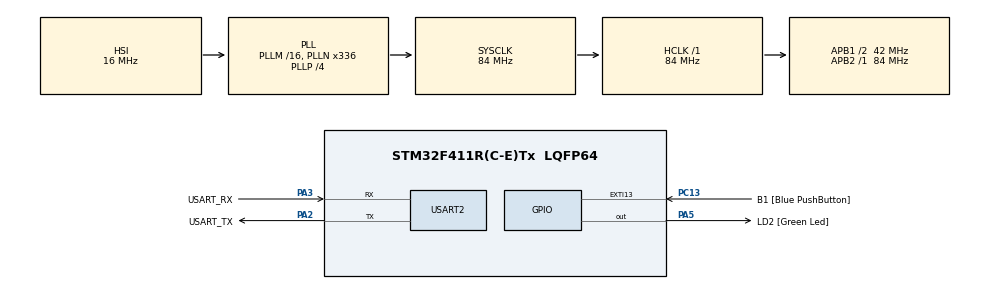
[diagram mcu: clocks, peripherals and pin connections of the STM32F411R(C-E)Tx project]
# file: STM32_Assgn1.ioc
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FREERTOS.Tasks01=defaultTask,24,128,StartDefaultTask,Default,NULL,Dynamic,NULL,NULL
Mcu.Family=STM32F4
Mcu.Name=STM32F411R(C-E)Tx
Mcu.Package=LQFP64
NVIC.PriorityGroup=NVIC_PRIORITYGROUP_4
NVIC.TIM1_BRK_TIM9_IRQn=true\:15\:0\:false\:false\:true\:false\:false\:true
NVIC.TimeBase=TIM1_BRK_TIM9_IRQn
NVIC.TimeBaseIP=TIM9
PA13.GPIO_Label=TMS
PA13.Mode=Serial_Wire
PA13.Signal=SYS_JTMS-SWDIO
PA14.GPIO_Label=TCK
PA14.Mode=Serial_Wire
PA14.Signal=SYS_JTCK-SWCLK
PA2.GPIO_Label=USART_TX
PA2.Mode=Asynchronous
PA2.Signal=USART2_TX
PA3.GPIO_Label=USART_RX
PA3.Mode=Asynchronous
PA3.Signal=USART2_RX
PA5.GPIO_Label=LD2 [Green Led]
PA5.Signal=GPIO_Output
PB3.GPIO_Label=SWO
PB3.Signal=SYS_JTDO-SWO
PC13-ANTI_TAMP.GPIO_Label=B1 [Blue PushButton]
PC13-ANTI_TAMP.GPIO_ModeDefaultEXTI=GPIO_MODE_IT_FALLING
PC13-ANTI_TAMP.Signal=GPXTI13
PC14-OSC32_IN.Mode=LSE-External-Oscillator
PC14-OSC32_IN.Signal=RCC_OSC32_IN
PC15-OSC32_OUT.Mode=LSE-External-Oscillator
PC15-OSC32_OUT.Signal=RCC_OSC32_OUT
PH0\ -\ OSC_IN.Mode=HSE-External-Clock-Source
PH0\ -\ OSC_IN.Signal=RCC_OSC_IN
PH1\ -\ OSC_OUT.Mode=HSE-External-Clock-Source
PH1\ -\ OSC_OUT.Signal=RCC_OSC_OUT
ProjectManager.HeapSize=0x200
ProjectManager.StackSize=0x400
ProjectManager.TargetToolchain=STM32CubeIDE
RCC.48MHZClocksFreq_Value=84000000
RCC.AHBFreq_Value=84000000
RCC.APB1CLKDivider=RCC_HCLK_DIV2
RCC.APB1Freq_Value=42000000
RCC.APB1TimFreq_Value=84000000
RCC.APB2Freq_Value=84000000
RCC.APB2TimFreq_Value=84000000
RCC.CortexFreq_Value=84000000
RCC.FLatency-AdvancedSettings=FLASH_LATENCY_2
RCC.HCLKFreq_Value=84000000
RCC.HSE_VALUE=8000000
RCC.HSI_VALUE=16000000
RCC.PLLN=336
RCC.PLLP=RCC_PLLP_DIV4
RCC.SYSCLKFreq_VALUE=84000000
RCC.SYSCLKSource=RCC_SYSCLKSOURCE_PLLCLK
RCC.VCOOutputFreq_Value=336000000
USART2.VirtualMode=VM_ASYNC
VP_FREERTOS_VS_CMSIS_V2.Mode=CMSIS_V2
VP_SYS_VS_tim9.Mode=TIM9
board=NUCLEO-F411RE

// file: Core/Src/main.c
/* USER CODE BEGIN Header */
/**
  ******************************************************************************
  * @file           : main.c
  * @brief          : Main program body
  ******************************************************************************
  * @attention
  *
  * <h2><center>&copy; Copyright (c) 2021 STMicroelectronics.
  * All rights reserved.</center></h2>
  *
  * This software component is licensed by ST under BSD 3-Clause license,
  * the "License"; You may not use this file except in compliance with the
  * License. You may obtain a copy of the License at:
  *                        opensource.org/licenses/BSD-3-Clause
  *
  ******************************************************************************
  */
/* USER CODE END Header */
#include "main.h"
#include "cmsis_os.h"
#include "message_buffer.h"
#include "portmacro.h"
/* USER CODE BEGIN Includes */
#include <stdio.h>
#include <string.h>
#include "Rcc.h"
#include "GPIO.h"
#include "NVIC.h"
#include "Adc.h"
#include "Retarget.h"
/* USER CODE END Includes */

UART_HandleTypeDef huart2;
MessageBufferHandle_t msgBuffer1;
MessageBufferHandle_t msgBuffer2;
MessageBufferHandle_t msgBuffer3;
SemaphoreHandle_t printfMutex;
/* Definitions for defaultTask */
osThreadId_t defaultTaskHandle;
const osThreadAttr_t defaultTask_attributes = {
  .name = "defaultTask",
  .stack_size = 128 * 4,
  .priority = (osPriority_t) osPriorityNormal,
};

void SystemClock_Config(void);
static void MX_GPIO_Init(void);
static void MX_USART2_UART_Init(void);
void StartDefaultTask(void *argument);

int main(void)
{

  /* MCU Configuration--------------------------------------------------------*/

  /* Reset of all peripherals, Initializes the Flash interface and the Systick. */
  HAL_Init();

  /* Configure the system clock */
  SystemClock_Config();

  /* Initialize all configured peripherals */
  configuratio_of_GPIO();
  configuratio_of_Usart();
  configuratio_of_ADC();
  MX_GPIO_Init();
  MX_USART2_UART_Init();

  /* Init scheduler */
  osKernelInitialize();

  /* Create the thread(s) */
  /* creation of defaultTask */
  defaultTaskHandle = osThreadNew(StartDefaultTask, NULL, &defaultTask_attributes);

  /* Start scheduler */
  osKernelStart();

  /* We should never get here as control is now taken by the scheduler */
  /* Infinite loop */
  while (1)
  {

  }
}

void SystemClock_Config(void)
{
  RCC_OscInitTypeDef RCC_OscInitStruct = {0};
  RCC_ClkInitTypeDef RCC_ClkInitStruct = {0};

  /** Configure the main internal regulator output voltage
  */
  __HAL_RCC_PWR_CLK_ENABLE();
  __HAL_PWR_VOLTAGESCALING_CONFIG(PWR_REGULATOR_VOLTAGE_SCALE1);
  /** Initializes the RCC Oscillators according to the specified parameters
  * in the RCC_OscInitTypeDef structure.
  */
  RCC_OscInitStruct.OscillatorType = RCC_OSCILLATORTYPE_HSI;
  RCC_OscInitStruct.HSIState = RCC_HSI_ON;
  RCC_OscInitStruct.HSICalibrationValue = RCC_HSICALIBRATION_DEFAULT;
  RCC_OscInitStruct.PLL.PLLState = RCC_PLL_ON;
  RCC_OscInitStruct.PLL.PLLSource = RCC_PLLSOURCE_HSI;
  RCC_OscInitStruct.PLL.PLLM = 16;
  RCC_OscInitStruct.PLL.PLLN = 336;
  RCC_OscInitStruct.PLL.PLLP = RCC_PLLP_DIV4;
  RCC_OscInitStruct.PLL.PLLQ = 4;
  if (HAL_RCC_OscConfig(&RCC_OscInitStruct) != HAL_OK)
  {
    Error_Handler();
  }
  /** Initializes the CPU, AHB and APB buses clocks
  */
  RCC_ClkInitStruct.ClockType = RCC_CLOCKTYPE_HCLK|RCC_CLOCKTYPE_SYSCLK
                              |RCC_CLOCKTYPE_PCLK1|RCC_CLOCKTYPE_PCLK2;
  RCC_ClkInitStruct.SYSCLKSource = RCC_SYSCLKSOURCE_PLLCLK;
  RCC_ClkInitStruct.AHBCLKDivider = RCC_SYSCLK_DIV1;
  RCC_ClkInitStruct.APB1CLKDivider = RCC_HCLK_DIV2;
  RCC_ClkInitStruct.APB2CLKDivider = RCC_HCLK_DIV1;

  if (HAL_RCC_ClockConfig(&RCC_ClkInitStruct, FLASH_LATENCY_2) != HAL_OK)
  {
    Error_Handler();
  }
}

static void MX_USART2_UART_Init(void)
{

  huart2.Instance = USART2;
  huart2.Init.BaudRate = 115200;
  huart2.Init.WordLength = UART_WORDLENGTH_8B;
  huart2.Init.StopBits = UART_STOPBITS_1;
  huart2.Init.Parity = UART_PARITY_NONE;
  huart2.Init.Mode = UART_MODE_TX_RX;
  huart2.Init.HwFlowCtl = UART_HWCONTROL_NONE;
  huart2.Init.OverSampling = UART_OVERSAMPLING_16;
  if (HAL_UART_Init(&huart2) != HAL_OK)
  {
    Error_Handler();
  }

}

static void MX_GPIO_Init(void)
{
  GPIO_InitTypeDef GPIO_InitStruct = {0};

  /* GPIO Ports Clock Enable */
  __HAL_RCC_GPIOC_CLK_ENABLE();
  __HAL_RCC_GPIOH_CLK_ENABLE();
  __HAL_RCC_GPIOA_CLK_ENABLE();
  __HAL_RCC_GPIOB_CLK_ENABLE();

  /*Configure GPIO pin Output Level */
  HAL_GPIO_WritePin(LD2_GPIO_Port, LD2_Pin, GPIO_PIN_RESET);

  /*Configure GPIO pin : B1_Pin */
  GPIO_InitStruct.Pin = B1_Pin;
  GPIO_InitStruct.Mode = GPIO_MODE_IT_FALLING;
  GPIO_InitStruct.Pull = GPIO_NOPULL;
  HAL_GPIO_Init(B1_GPIO_Port, &GPIO_InitStruct);

  /*Configure GPIO pin : LD2_Pin */
  GPIO_InitStruct.Pin = LD2_Pin;
  GPIO_InitStruct.Mode = GPIO_MODE_OUTPUT_PP;
  GPIO_InitStruct.Pull = GPIO_NOPULL;
  GPIO_InitStruct.Speed = GPIO_SPEED_FREQ_LOW;
  HAL_GPIO_Init(LD2_GPIO_Port, &GPIO_InitStruct);

}

/* USER CODE BEGIN 4 */
void configuratio_of_GPIO(){
	rccResetAndUnresetGpio(Rcc_GPIOA);
	rccResetAndUnresetGpio(Rcc_GPIOC);
	//ADC Analog input AIN0 ,PA0
	gpioConfigurePin(gpioA, 0, GPIO_ANALOG_IN);

	//LED Pin, PC10
	gpioConfigurePin(gpioC,10, GPIO_MEDIUM_SPEED | GPIO_PUSH_PULL | GPIO_OUTPUT);

	//USART 2 Tx : PA2 , USART 2 Rx : PA3
	gpioConfigurePin(gpioA, 2, GPIO_ALT_FUNC | GPIO_HIGH_SPEED | AF_7 | GPIO_PUSH_PULL);
	gpioConfigurePin(gpioA, 3, GPIO_ALT_FUNC | AF_7);

	//USART 6 Tx : PC6 ,USART 6 Rx : PC7
	gpioConfigurePin(gpioC, 6, GPIO_ALT_FUNC | GPIO_HIGH_SPEED | AF_8 | GPIO_PUSH_PULL);
	gpioConfigurePin(gpioC, 7, GPIO_ALT_FUNC | AF_8);

	//USART 1 Tx : PA9 ,USART 1 Rx : PA10
	gpioConfigurePin(gpioA, 9, GPIO_ALT_FUNC | GPIO_HIGH_SPEED | AF_7 | GPIO_PUSH_PULL);
	gpioConfigurePin(gpioA, 10, GPIO_ALT_FUNC | AF_7);
}

void configuratio_of_Usart() {
	rccResetAndUnresetUsart(Rcc_USART1);
	rccResetAndUnresetUsart(Rcc_USART2);
	rccResetAndUnresetUsart(Rcc_USART6);

	nvicEnableIrq(37);
	nvicSetIrqPriority(37, 6);
	nvicEnableIrq(38);
	nvicSetIrqPriority(38, 6);
	nvicEnableIrq(71);
	nvicSetIrqPriority(71, 6);

	usartSetBaudRate(usart1, 115200);
	usartConfigure(usart1, USART_TX_EN | USART_RX_EN | USART_9_DATA_BIT | USART_1_STOPBIT | USART_ODD_PARITY | USART_RXNE_IE | USART_EN);
	usartSetBaudRate(usart2, 115200);
	usartConfigure(usart2, USART_TX_EN | USART_RX_EN | USART_9_DATA_BIT | USART_1_STOPBIT | USART_ODD_PARITY | USART_RXNE_IE | USART_EN);
	usartSetBaudRate(usart6, 115200);
	usartConfigure(usart6, USART_TX_EN | USART_RX_EN | USART_9_DATA_BIT | USART_1_STOPBIT | USART_ODD_PARITY | USART_RXNE_IE | USART_EN);
}

void configuratio_of_ADC() {
	rccUnresetAndEnableDevice(RCC_ADC1);
	Adc_setSampleTime(adc1, 0, SAMPLE_3_CYCLES);			//channel 0, sampling time of 3 cycles
	Adc_setChannelSequence(adc1);
	Adc_CCR_config(ADC_PSC_DIV_2);							//PCLK2 divide by 2 is ADC clk
	nvicEnableIrq(38);										//Enable ADC interrupt
	nvicSetIrqPriority(38, 6);
	Adc_Configuration(ADC1, EOC_INTERRUPT_EN| RESOLUTION_12BIT | ADC_ON | CONT_SINGLE_CONV  | RIGHT_ALIGN);
}

/* USER CODE END 4 */

void StartDefaultTask(void *argument)
{
  for(;;)
  {
    osDelay(1);
  }
}

void HAL_TIM_PeriodElapsedCallback(TIM_HandleTypeDef *htim)
{
  if (htim->Instance == TIM9) {
    HAL_IncTick();
  }
}

void Error_Handler(void)
{
  __disable_irq();
  while (1)
  {
  }
}

/************************ (C) COPYRIGHT STMicroelectronics *****END OF FILE****/
